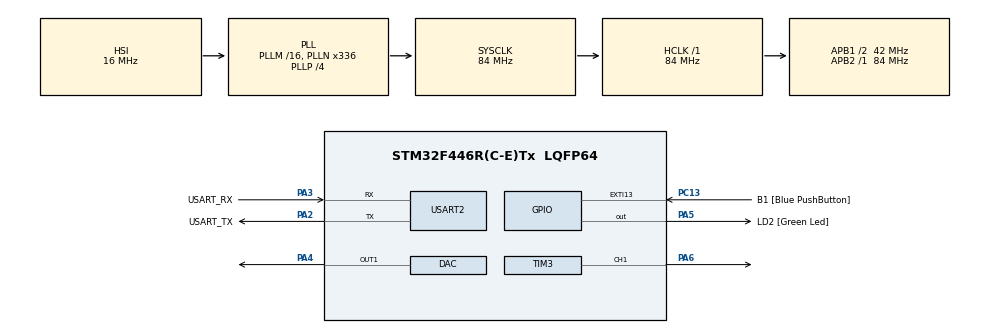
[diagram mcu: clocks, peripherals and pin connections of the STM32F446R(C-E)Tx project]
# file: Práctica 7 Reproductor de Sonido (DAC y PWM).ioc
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DAC.DAC_Trigger=DAC_TRIGGER_T6_TRGO
Dma.DAC1.0.Direction=DMA_MEMORY_TO_PERIPH
Dma.DAC1.0.FIFOMode=DMA_FIFOMODE_DISABLE
Dma.DAC1.0.Instance=DMA1_Stream5
Dma.DAC1.0.MemDataAlignment=DMA_MDATAALIGN_HALFWORD
Dma.DAC1.0.MemInc=DMA_MINC_ENABLE
Dma.DAC1.0.Mode=DMA_CIRCULAR
Dma.DAC1.0.PeriphDataAlignment=DMA_PDATAALIGN_HALFWORD
Dma.DAC1.0.PeriphInc=DMA_PINC_DISABLE
Dma.DAC1.0.Priority=DMA_PRIORITY_LOW
Dma.Request0=DAC1
Mcu.Family=STM32F4
Mcu.Name=STM32F446R(C-E)Tx
Mcu.Package=LQFP64
NVIC.DMA1_Stream5_IRQn=true\:0\:0\:false\:false\:true\:false\:true\:true
NVIC.PriorityGroup=NVIC_PRIORITYGROUP_0
PA13.GPIO_Label=TMS
PA13.Signal=SYS_JTMS-SWDIO
PA14.GPIO_Label=TCK
PA14.Signal=SYS_JTCK-SWCLK
PA2.GPIO_Label=USART_TX
PA2.Mode=Asynchronous
PA2.Signal=USART2_TX
PA3.GPIO_Label=USART_RX
PA3.Mode=Asynchronous
PA3.Signal=USART2_RX
PA4.Signal=COMP_DAC1_group
PA5.GPIO_Label=LD2 [Green Led]
PA5.Signal=GPIO_Output
PA6.Signal=S_TIM3_CH1
PB3.GPIO_Label=SWO
PB3.Signal=SYS_JTDO-SWO
PC13.GPIO_Label=B1 [Blue PushButton]
PC13.GPIO_ModeDefaultEXTI=GPIO_MODE_IT_FALLING
PC13.Signal=GPXTI13
PC14-OSC32_IN.Signal=RCC_OSC32_IN
PC15-OSC32_OUT.Signal=RCC_OSC32_OUT
PH0-OSC_IN.Signal=RCC_OSC_IN
PH1-OSC_OUT.Signal=RCC_OSC_OUT
ProjectManager.HeapSize=0x200
ProjectManager.StackSize=0x400
ProjectManager.TargetToolchain=STM32CubeIDE
RCC.AHBFreq_Value=84000000
RCC.APB1CLKDivider=RCC_HCLK_DIV2
RCC.APB1Freq_Value=42000000
RCC.APB1TimFreq_Value=84000000
RCC.APB2Freq_Value=84000000
RCC.APB2TimFreq_Value=84000000
RCC.CortexFreq_Value=84000000
RCC.FLatency-AdvancedSettings=FLASH_LATENCY_2
RCC.HCLKFreq_Value=84000000
RCC.HSE_VALUE=8000000
RCC.HSI_VALUE=16000000
RCC.LSE_VALUE=32768
RCC.PLLN=336
RCC.PLLP=RCC_PLLP_DIV4
RCC.SYSCLKFreq_VALUE=84000000
RCC.SYSCLKSource=RCC_SYSCLKSOURCE_PLLCLK
RCC.USBFreq_Value=168000000
RCC.VCOOutputFreq_Value=336000000
SH.COMP_DAC1_group.0=DAC_OUT1,DAC_OUT1
SH.S_TIM3_CH1.0=TIM3_CH1,PWM Generation1 CH1
TIM3.Channel-PWM\ Generation1\ CH1=TIM_CHANNEL_1
TIM3.Period=1000
TIM3.Prescaler=83
TIM3.Pulse-PWM\ Generation1\ CH1=500
TIM6.Period=1000
TIM6.Prescaler=1
TIM6.TIM_MasterOutputTrigger=TIM_TRGO_UPDATE
USART2.VirtualMode=VM_ASYNC
VP_TIM6_VS_ClockSourceINT.Mode=Enable_Timer
board=NUCLEO-F446RE

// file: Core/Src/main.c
/* USER CODE BEGIN Header */
/**
  ******************************************************************************
  * @file           : main.c
  * @brief          : Laboratorio 7 - Reproductor de audio por UART + DAC + PWM
  ******************************************************************************
  * @attention
  *
  * Copyright (c) 2026 STMicroelectronics.
  * All rights reserved.
  *
  * This software is licensed under terms that can be found in the LICENSE file
  * in the root directory of this software component.
  * If no LICENSE file comes with this software, it is provided AS-IS.
  *
  ******************************************************************************
  */
/* USER CODE END Header */

#include "main.h"

/* USER CODE BEGIN Includes */
#include <math.h>      // Generamos la onda senoidal del DAC
#include <string.h>    // strlen() en UART
#include "audio1.h"   // Contiene las dos canciones y sus duraciones
/* USER CODE END Includes */

/* USER CODE BEGIN PD */
#define SINE_SIZE 128          // Numero de muestras de una onda senoidal completa
#define PI 3.1415926           // Constante PI
#define TIM6_FREQ 84000000UL   // Reloj de TIM6 = 84 MHz
#define TIM6_PSC 1UL           // Prescaler configurado para TIM6
#define DAC_MIDPOINT 2048      // Mitad de escala del DAC de 12 bits

/* TIM3 recibe 84 MHz y tiene PSC = 83:
 * 84 MHz / (83 + 1) = 1 MHz.
 * Este valor lo usamos para calcular el ARR de cada nota PWM.
 */
#define PWM_TIMER_FREQ 1000000UL
/* USER CODE END PD */

DAC_HandleTypeDef hdac;
DMA_HandleTypeDef hdma_dac1;

TIM_HandleTypeDef htim3;
TIM_HandleTypeDef htim6;

UART_HandleTypeDef huart2;

/* USER CODE BEGIN PV */
/* Tabla de 128 muestras que DMA envia al DAC de forma circular. */
uint16_t Ysine[SINE_SIZE];

/* Guarda un caracter recibido desde la terminal serial. */
uint8_t rxData = 0;
/* USER CODE END PV */

void SystemClock_Config(void);
static void MX_GPIO_Init(void);
static void MX_DMA_Init(void);
static void MX_DAC_Init(void);
static void MX_USART2_UART_Init(void);
static void MX_TIM3_Init(void);
static void MX_TIM6_Init(void);

/* USER CODE BEGIN PFP */
void generarSin(void);
uint32_t calcularARR_DAC(uint16_t freq);
void playToneDAC(const uint16_t *tone,
                 const uint16_t *duration,
                 uint16_t Nsize);
void noToneDAC(void);

void playTonePWM(const uint16_t *tone,
                 const uint16_t *duration,
                 uint16_t Nsize);
void noTonePWM(void);

void UART_SendString(const char *text);
void mostrarMenu(void);
/* USER CODE END PFP */

/* USER CODE BEGIN 0 */

/* Genera una senoide de 128 muestras con valores entre 0 y 4095. */
void generarSin(void)
{
    for (int x = 0; x < SINE_SIZE; x++)
    {
        Ysine[x] = (uint16_t)((sin((x * 2.0 * PI) / SINE_SIZE) + 1.0)
                              * (4095.0 / 2.0));
    }
}

/* Calcula el ARR de TIM6 necesario para producir una nota con el DAC. */
uint32_t calcularARR_DAC(uint16_t freq)
{
    if (freq == 0)
    {
        return 0;
    }

    /* TIM6 debe generar SINE_SIZE actualizaciones por cada ciclo de la nota. */
    uint32_t triggerFrequency = SINE_SIZE * (uint32_t)freq;

    return (TIM6_FREQ / ((TIM6_PSC + 1UL) * triggerFrequency)) - 1UL;
}

/* Detiene TIM6 para dejar de generar triggers hacia el DAC. */
void noToneDAC(void)
{
    HAL_TIM_Base_Stop(&htim6);

    /* Reinicia el contador para que la siguiente nota empiece limpia. */
    __HAL_TIM_SET_COUNTER(&htim6, 0);

    /* Deja cargado el valor medio del DAC durante el silencio. */
    HAL_DAC_SetValue(&hdac,
                     DAC_CHANNEL_1,
                     DAC_ALIGN_12B_R,
                     DAC_MIDPOINT);
}

/* Reproduce una secuencia usando TIM6 + DAC + DMA. */
void playToneDAC(const uint16_t *tone,
                 const uint16_t *duration,
                 uint16_t Nsize)
{
    for (uint16_t i = 0; i < Nsize; i++)
    {
        /* Frecuencia 0 representa silencio. */
        if (tone[i] == 0)
        {
            noToneDAC();
            HAL_Delay(duration[i]);
            continue;
        }

        /* Calcula el ARR correspondiente a la nota actual. */
        uint32_t valorARR = calcularARR_DAC(tone[i]);

        /* Cambia la frecuencia con la que TIM6 dispara el DAC. */
        __HAL_TIM_SET_AUTORELOAD(&htim6, valorARR);
        __HAL_TIM_SET_COUNTER(&htim6, 0);

        /* Inicia TIM6. Sus Update Events disparan el DAC. */
        HAL_TIM_Base_Start(&htim6);

        /* Mantiene la nota durante el tiempo indicado. */
        HAL_Delay(duration[i]);

        /* Detiene la nota antes de continuar. */
        noToneDAC();
    }
}

/* Detiene la salida PWM de TIM3 Channel 1. */
void noTonePWM(void)
{
    HAL_TIM_PWM_Stop(&htim3, TIM_CHANNEL_1);

    /* Deja el duty cycle en 0 y reinicia el contador. */
    __HAL_TIM_SET_COMPARE(&htim3, TIM_CHANNEL_1, 0);
    __HAL_TIM_SET_COUNTER(&htim3, 0);
}

/* Reproduce una secuencia de notas usando PWM en TIM3 Channel 1. */
void playTonePWM(const uint16_t *tone,
                 const uint16_t *duration,
                 uint16_t Nsize)
{
    for (uint16_t i = 0; i < Nsize; i++)
    {
        /* Frecuencia 0 representa silencio. */
        if (tone[i] == 0)
        {
            noTonePWM();
            HAL_Delay(duration[i]);
            continue;
        }

        /* Con un timer de 1 MHz:
         * ARR = (1,000,000 / frecuencia) - 1
         */
        uint32_t valorARR = (PWM_TIMER_FREQ / (uint32_t)tone[i]) - 1UL;

        /* Duty cycle del 50 %. */
        uint32_t pulse = (valorARR + 1UL) / 2UL;

        /* Actualiza periodo y duty cycle para la nota actual. */
        __HAL_TIM_SET_AUTORELOAD(&htim3, valorARR);
        __HAL_TIM_SET_COMPARE(&htim3, TIM_CHANNEL_1, pulse);
        __HAL_TIM_SET_COUNTER(&htim3, 0);

        /* Inicia PWM en TIM3 Channel 1. */
        HAL_TIM_PWM_Start(&htim3, TIM_CHANNEL_1);

        /* Mantiene la nota durante el tiempo indicado. */
        HAL_Delay(duration[i]);

        /* Detiene PWM antes de la siguiente nota. */
        noTonePWM();
    }
}

/* Envia una cadena completa por USART2. */
void UART_SendString(const char *text)
{
    HAL_UART_Transmit(&huart2,
                      (uint8_t *)text,
                      (uint16_t)strlen(text),
                      HAL_MAX_DELAY);
}

/* Menu de las canciones */
void mostrarMenu(void)
{
    UART_SendString("\r\n");
    UART_SendString("========================================\r\n");
    UART_SendString("        REPRODUCTOR DE AUDIO\r\n");
    UART_SendString("========================================\r\n");
    UART_SendString("1 - Audio 1: Ode to Joy (DAC)\r\n");
    UART_SendString("2 - Audio 2: Mario Theme (PWM)\r\n");
    UART_SendString("========================================\r\n");
}

/* USER CODE END 0 */

int main(void)
{

    /* MCU Configuration--------------------------------------------------------*/

    /* Reset of all peripherals, Initializes the Flash interface and the Systick. */
    HAL_Init();

    /* Configure the system clock */
    SystemClock_Config();

    /* Initialize all configured peripherals */
    MX_GPIO_Init();
    MX_DMA_Init();
    MX_DAC_Init();
    MX_USART2_UART_Init();
    MX_TIM3_Init();
    MX_TIM6_Init();

    /* USER CODE BEGIN 2 */

    /* Crea la tabla de 128 muestras de la senoide para el Audio 1. */
    generarSin();

    /*
     * Inicia DAC + DMA en modo circular.
     * TIM6 permanece detenido, por lo que el Audio 1 NO comienza aqui.
     * El audio empieza solamente cuando UART recibe el comando '1'.
     */
    if (HAL_DAC_Start_DMA(&hdac,
                          DAC_CHANNEL_1,
                          (uint32_t *)Ysine,
                          SINE_SIZE,
                          DAC_ALIGN_12B_R) != HAL_OK)
    {
        Error_Handler();
    }

    /* Ambos metodos de audio comienzan apagados. */
    noToneDAC();
    noTonePWM();

    /* Muestra el menu apenas inicia el programa. */
    mostrarMenu();

    /* USER CODE END 2 */

    /* Infinite loop */
    while (1)
    {

        /* USER CODE BEGIN 3 */

        /* Espera un solo caracter desde la terminal serial. */
        if (HAL_UART_Receive(&huart2, &rxData, 1, HAL_MAX_DELAY) == HAL_OK)
        {
            switch (rxData)
            {
                case '1':
                    /* Audio 1: Ode to Joy por DAC. Duracion = 10 segundos. */
                    playToneDAC(audio1_freqs,
                                audio1_durations,
                                AUDIO1_LEN);

                    /* Limpia un posible Overrun si la terminal envio CR/LF. */
                    __HAL_UART_CLEAR_OREFLAG(&huart2);

                    /* Al terminar vuelve a mostrar el menu. */
                    mostrarMenu();
                    break;

                case '2':
                    /* Audio 2: Mario Theme por PWM. Duracion = 10 segundos. */
                    playTonePWM(audio2_freqs,
                                audio2_durations,
                                AUDIO2_LEN);

                    /* Limpia un posible Overrun si la terminal envio CR/LF. */
                    __HAL_UART_CLEAR_OREFLAG(&huart2);

                    /* Al terminar vuelve a mostrar el menu. */
                    mostrarMenu();
                    break;

                case '\r':
                case '\n':
                    /* Ignora ENTER y saltos de linea. */
                    break;

                default:
                    /* Cualquier otro caracter se ignora y no imprime texto extra. */
                    break;
            }
        }
        else
        {
            /* Limpia errores de recepcion y vuelve a esperar otro caracter. */
            __HAL_UART_CLEAR_OREFLAG(&huart2);
        }
    }
    /* USER CODE END 3 */
}

void SystemClock_Config(void)
{
    RCC_OscInitTypeDef RCC_OscInitStruct = {0};
    RCC_ClkInitTypeDef RCC_ClkInitStruct = {0};

    /** Configure the main internal regulator output voltage */
    __HAL_RCC_PWR_CLK_ENABLE();
    __HAL_PWR_VOLTAGESCALING_CONFIG(PWR_REGULATOR_VOLTAGE_SCALE3);

    /** Initializes the RCC Oscillators according to the specified parameters
      * in the RCC_OscInitTypeDef structure.
      */
    RCC_OscInitStruct.OscillatorType = RCC_OSCILLATORTYPE_HSI;
    RCC_OscInitStruct.HSIState = RCC_HSI_ON;
    RCC_OscInitStruct.HSICalibrationValue = RCC_HSICALIBRATION_DEFAULT;
    RCC_OscInitStruct.PLL.PLLState = RCC_PLL_ON;
    RCC_OscInitStruct.PLL.PLLSource = RCC_PLLSOURCE_HSI;
    RCC_OscInitStruct.PLL.PLLM = 16;
    RCC_OscInitStruct.PLL.PLLN = 336;
    RCC_OscInitStruct.PLL.PLLP = RCC_PLLP_DIV4;
    RCC_OscInitStruct.PLL.PLLQ = 2;
    RCC_OscInitStruct.PLL.PLLR = 2;

    if (HAL_RCC_OscConfig(&RCC_OscInitStruct) != HAL_OK)
    {
        Error_Handler();
    }

    /** Initializes the CPU, AHB and APB buses clocks */
    RCC_ClkInitStruct.ClockType = RCC_CLOCKTYPE_HCLK | RCC_CLOCKTYPE_SYSCLK
                                | RCC_CLOCKTYPE_PCLK1 | RCC_CLOCKTYPE_PCLK2;
    RCC_ClkInitStruct.SYSCLKSource = RCC_SYSCLKSOURCE_PLLCLK;
    RCC_ClkInitStruct.AHBCLKDivider = RCC_SYSCLK_DIV1;
    RCC_ClkInitStruct.APB1CLKDivider = RCC_HCLK_DIV2;
    RCC_ClkInitStruct.APB2CLKDivider = RCC_HCLK_DIV1;

    if (HAL_RCC_ClockConfig(&RCC_ClkInitStruct, FLASH_LATENCY_2) != HAL_OK)
    {
        Error_Handler();
    }
}

static void MX_DAC_Init(void)
{

    DAC_ChannelConfTypeDef sConfig = {0};

    /** DAC Initialization */
    hdac.Instance = DAC;
    if (HAL_DAC_Init(&hdac) != HAL_OK)
    {
        Error_Handler();
    }

    /** DAC channel OUT1 config */
    sConfig.DAC_Trigger = DAC_TRIGGER_T6_TRGO;
    sConfig.DAC_OutputBuffer = DAC_OUTPUTBUFFER_ENABLE;

    if (HAL_DAC_ConfigChannel(&hdac, &sConfig, DAC_CHANNEL_1) != HAL_OK)
    {
        Error_Handler();
    }

}

static void MX_TIM3_Init(void)
{

    TIM_ClockConfigTypeDef sClockSourceConfig = {0};
    TIM_MasterConfigTypeDef sMasterConfig = {0};
    TIM_OC_InitTypeDef sConfigOC = {0};

    /* Asegura que TIM3 tenga reloj aunque el MSP generado no se haya actualizado. */
    __HAL_RCC_TIM3_CLK_ENABLE();

    htim3.Instance = TIM3;
    htim3.Init.Prescaler = 83;
    htim3.Init.CounterMode = TIM_COUNTERMODE_UP;
    htim3.Init.Period = 1000;
    htim3.Init.ClockDivision = TIM_CLOCKDIVISION_DIV1;
    htim3.Init.AutoReloadPreload = TIM_AUTORELOAD_PRELOAD_DISABLE;

    if (HAL_TIM_Base_Init(&htim3) != HAL_OK)
    {
        Error_Handler();
    }

    sClockSourceConfig.ClockSource = TIM_CLOCKSOURCE_INTERNAL;
    if (HAL_TIM_ConfigClockSource(&htim3, &sClockSourceConfig) != HAL_OK)
    {
        Error_Handler();
    }

    if (HAL_TIM_PWM_Init(&htim3) != HAL_OK)
    {
        Error_Handler();
    }

    sMasterConfig.MasterOutputTrigger = TIM_TRGO_RESET;
    sMasterConfig.MasterSlaveMode = TIM_MASTERSLAVEMODE_DISABLE;
    if (HAL_TIMEx_MasterConfigSynchronization(&htim3, &sMasterConfig) != HAL_OK)
    {
        Error_Handler();
    }

    /* PWM Mode 1, duty inicial 50 %, polaridad alta. */
    sConfigOC.OCMode = TIM_OCMODE_PWM1;
    sConfigOC.Pulse = 500;
    sConfigOC.OCPolarity = TIM_OCPOLARITY_HIGH;
    sConfigOC.OCFastMode = TIM_OCFAST_DISABLE;

    if (HAL_TIM_PWM_ConfigChannel(&htim3, &sConfigOC, TIM_CHANNEL_1) != HAL_OK)
    {
        Error_Handler();
    }

    /* Configura PA6 como salida TIM3_CH1.
     * Se hace aqui para que este main sea autocontenido.
     */
    __HAL_RCC_GPIOA_CLK_ENABLE();

    GPIO_InitTypeDef GPIO_InitStruct = {0};
    GPIO_InitStruct.Pin = GPIO_PIN_6;
    GPIO_InitStruct.Mode = GPIO_MODE_AF_PP;
    GPIO_InitStruct.Pull = GPIO_NOPULL;
    GPIO_InitStruct.Speed = GPIO_SPEED_FREQ_LOW;
    GPIO_InitStruct.Alternate = GPIO_AF2_TIM3;
    HAL_GPIO_Init(GPIOA, &GPIO_InitStruct);

}

static void MX_TIM6_Init(void)
{

    TIM_MasterConfigTypeDef sMasterConfig = {0};

    htim6.Instance = TIM6;
    htim6.Init.Prescaler = 1;
    htim6.Init.CounterMode = TIM_COUNTERMODE_UP;
    htim6.Init.Period = 1000;
    htim6.Init.AutoReloadPreload = TIM_AUTORELOAD_PRELOAD_DISABLE;

    if (HAL_TIM_Base_Init(&htim6) != HAL_OK)
    {
        Error_Handler();
    }

    /* Cada Update Event de TIM6 se usa como trigger del DAC. */
    sMasterConfig.MasterOutputTrigger = TIM_TRGO_UPDATE;
    sMasterConfig.MasterSlaveMode = TIM_MASTERSLAVEMODE_DISABLE;

    if (HAL_TIMEx_MasterConfigSynchronization(&htim6, &sMasterConfig) != HAL_OK)
    {
        Error_Handler();
    }

}

static void MX_USART2_UART_Init(void)
{

    huart2.Instance = USART2;
    huart2.Init.BaudRate = 115200;
    huart2.Init.WordLength = UART_WORDLENGTH_8B;
    huart2.Init.StopBits = UART_STOPBITS_1;
    huart2.Init.Parity = UART_PARITY_NONE;
    huart2.Init.Mode = UART_MODE_TX_RX;
    huart2.Init.HwFlowCtl = UART_HWCONTROL_NONE;
    huart2.Init.OverSampling = UART_OVERSAMPLING_16;

    if (HAL_UART_Init(&huart2) != HAL_OK)
    {
        Error_Handler();
    }

}

static void MX_DMA_Init(void)
{
    /* DMA controller clock enable */
    __HAL_RCC_DMA1_CLK_ENABLE();

    /* DMA interrupt init */
    /* DMA1_Stream5_IRQn interrupt configuration */
    HAL_NVIC_SetPriority(DMA1_Stream5_IRQn, 0, 0);
    HAL_NVIC_EnableIRQ(DMA1_Stream5_IRQn);
}

static void MX_GPIO_Init(void)
{
    GPIO_InitTypeDef GPIO_InitStruct = {0};

    /* GPIO Ports Clock Enable */
    __HAL_RCC_GPIOC_CLK_ENABLE();
    __HAL_RCC_GPIOH_CLK_ENABLE();
    __HAL_RCC_GPIOA_CLK_ENABLE();
    __HAL_RCC_GPIOB_CLK_ENABLE();

    /* Configure GPIO pin Output Level */
    HAL_GPIO_WritePin(LD2_GPIO_Port, LD2_Pin, GPIO_PIN_RESET);

    /* Configure GPIO pin : B1_Pin */
    GPIO_InitStruct.Pin = B1_Pin;
    GPIO_InitStruct.Mode = GPIO_MODE_IT_FALLING;
    GPIO_InitStruct.Pull = GPIO_NOPULL;
    HAL_GPIO_Init(B1_GPIO_Port, &GPIO_InitStruct);

    /* Configure GPIO pin : LD2_Pin */
    GPIO_InitStruct.Pin = LD2_Pin;
    GPIO_InitStruct.Mode = GPIO_MODE_OUTPUT_PP;
    GPIO_InitStruct.Pull = GPIO_NOPULL;
    GPIO_InitStruct.Speed = GPIO_SPEED_FREQ_LOW;
    HAL_GPIO_Init(LD2_GPIO_Port, &GPIO_InitStruct);

}

void Error_Handler(void)
{
    __disable_irq();
    while (1)
    {
    }
}
